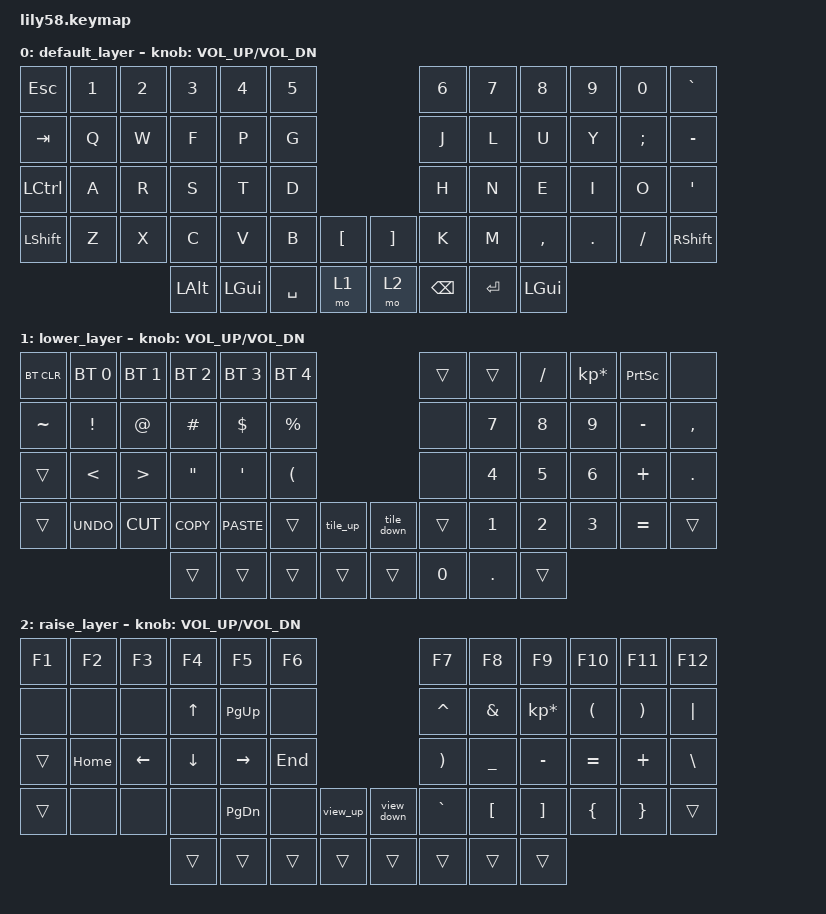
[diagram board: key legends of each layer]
/*
 * Copyright (c) 2020 The ZMK Contributorss
 *
 * SPDX-License-Identifier: MIT
 */

#include <behaviors.dtsi>
#include <dt-bindings/zmk/keys.h>
#include <dt-bindings/zmk/bt.h>
#include <dt-bindings/zmk/ext_power.h>

/ {
combos {
	compatible = "zmk,combos";
	combo_caps {
		timeout-ms = <50>;
	key-positions = <36 49>;
		bindings = <&caps_word>;
	};
	combo_enter {
		timeout-ms = <50>;
	key-positions = <53 54>;
		bindings = <&kp RET>;
	};
};

/* macros ctrl gui up or down - shift gui up or down */
macros {
        tile_up: tile_up {
            label = "pop_tile_up";
            compatible = "zmk,behavior-macro";
            #binding-cells = <0>;
            bindings
                = <&macro_press &kp LGUI &kp LSHFT>,
				<&macro_tap &kp UP>,
				<&macro_release &kp LGUI &kp LSHFT>;
        };
		tile_down: tile_down {
            label = "pop_tile_down";
            compatible = "zmk,behavior-macro";
            #binding-cells = <0>;
            bindings
                = <&macro_press &kp LGUI &kp LSHFT>,
				<&macro_tap &kp DOWN>,
				<&macro_release &kp LGUI &kp LSHFT>;
        };
		view_up: view_up {
            label = "pop_view_up";
            compatible = "zmk,behavior-macro";
            #binding-cells = <0>;
            bindings
                = <&macro_press &kp LGUI &kp LCTRL>,
				<&macro_tap &kp UP>,
				<&macro_release &kp LGUI &kp LCTRL>;
        };
		view_down: view_down {
            label = "pop_view_down";
            compatible = "zmk,behavior-macro";
            #binding-cells = <0>;
            bindings
                = <&macro_press &kp LGUI &kp LCTRL>,
				<&macro_tap &kp DOWN>,
				<&macro_release &kp LGUI &kp LCTRL>;
        };
    };


keymap {
		compatible = "zmk,keymap";

		default_layer {
// ------------------------------------------------------------------------------------------------------------
// |  ESC  |  1  |  2  |  3   |  4   |  5   |                   |  6   |  7    |  8    |  9   |   0   |   `   |
// |  TAB  |  Q  |  W  |  F   |  P   |  G   |                   |  J   |  L    |  U    |  Y   |   ;   |   -   |
// |  CTRL |  A  |  R  |  S   |  T   |  D   |                   |  H   |  N    |  E    |  I   |   O   |   '   |
// | SHIFT |  Z  |  X  |  C   |  V   |  B   |   "["  |  |  "]"  |  K   |  M    |  ,    |  .   |   /   | SHIFT |
//                     | ALT  | GUI  | LOWER|  SPACE |  | ENTER | RAISE| BSPC  | GUI   |
			bindings = <
&kp ESC   &kp N1 &kp N2 &kp N3   &kp N4   &kp N5                         &kp N6    &kp N7   &kp N8    &kp N9  &kp N0   &kp GRAVE
&kp TAB   &kp Q  &kp W  &kp F    &kp P    &kp G                          &kp J     &kp L    &kp U     &kp Y   &kp SEMI &kp MINUS
&kp LCTRL &kp A  &kp R  &kp S    &kp T    &kp D                          &kp H     &kp N    &kp E     &kp I   &kp O    &kp SQT
&kp LSHFT &kp Z  &kp X  &kp C    &kp V    &kp B      &kp LBKT   &kp RBKT &kp K     &kp M    &kp COMMA &kp DOT &kp FSLH &kp RSHFT
                        &kp LALT &kp LGUI &kp SPACE  &mo 1      &mo 2    &kp BSPC  &kp RET  &kp LGUI
			>;

			sensor-bindings = <&inc_dec_kp C_VOL_UP C_VOL_DN>;
		};

		lower_layer {
// ------------------------------------------------------------------------------------------------------------
// | BTCLR| BT1  | BT2  | BT3  | BT4  | BT5  |                   |      |      |  /   |  *   |  ps  |       |
// |  `   |  !   |  @   | #    | $    | %    |                   |      |  7   |  8   |  9   |   -  |  ,    |
// |   ~  |  <   |  >   | "    | '    | (    |                   |      |  4   |  5   |  6   |   +  |  .    |
// |      | und  | cut  |cop   |pst   |      |        |  |       |      |  1   |  2   |  3   |   =  |       |
//                      |      |      |      |        |  |       |      |  0   |  .   |
			bindings = <
&bt BT_CLR &bt BT_SEL 0  &bt BT_SEL 1  &bt BT_SEL 2  &bt BT_SEL 3 &bt BT_SEL 4                    &trans  &trans   &kp FSLH  &kp KP_MULTIPLY  &kp PSCRN &none
&kp TILDE  &kp EXCL      &kp AT        &kp HASH      &kp DOLLAR   &kp PRCNT                       &none   &kp N7   &kp N8    &kp N9           &kp MINUS &kp COMMA
&trans     &kp LT        &kp GT        &kp DQT       &kp SQT      &kp LPAR                        &none   &kp N4   &kp N5    &kp N6           &kp PLUS  &kp DOT
&trans     &kp K_UNDO    &kp K_CUT     &kp K_COPY    &kp K_PASTE  &trans    &tile_up  &tile_down  &trans  &kp N1   &kp N2    &kp N3           &kp EQUAL &trans
                                           &trans  &trans     &trans        &trans    &trans         &kp N0  &kp DOT  &trans
			>;

			sensor-bindings = <&inc_dec_kp C_VOL_UP C_VOL_DN>;
		};

		raise_layer {
// ------------------------------------------------------------------------------------------------------------
// |  F1  |  F2  |  F3  |  F4  |  F5  |  F6  |                   |  F7  |  F8   |  F9   |  F10 |  F11  |  F12  |
// |      |      |      |  UP  | PG_UP|      |                   |  ^   |   &   |   *   |   (  |   )   |   |   |
// |      | HOME |  LEFT|  DOWN| RIGHT|  END |                   |  )   |   _   |   -   |   =  |   +   |   \   |
// |      |      |      |      | PG_DN|      |        |  |       |  `   |   [   |   ]   |  {   |   }   |       |
//                      |      |      |      |        |  |       |      |       |       | 
			bindings = <
&kp F1    &kp F2   &kp F3   &kp F4   &kp F5    &kp F6                        &kp F7      &kp F8    &kp F9          &kp F10   &kp F11   &kp F12
&none     &none    &none    &kp UP   &kp PG_UP &none                         &kp CARET   &kp AMPS  &kp KP_MULTIPLY &kp LPAR  &kp RPAR  &kp PIPE
&trans    &kp HOME &kp LEFT &kp DOWN &kp RIGHT &kp END                       &kp RPAR    &kp UNDER &kp MINUS       &kp EQUAL &kp PLUS  &kp BSLH
&trans    &none    &none    &none    &kp PG_DN &none   &view_up   &view_down &kp GRAVE   &kp LBKT  &kp RBKT        &kp LBRC  &kp RBRC  &trans
                       &trans    &trans     &trans     &trans     &trans     &trans      &trans    &trans
			>;

			sensor-bindings = <&inc_dec_kp C_VOL_UP C_VOL_DN>;
		};
	};
};
